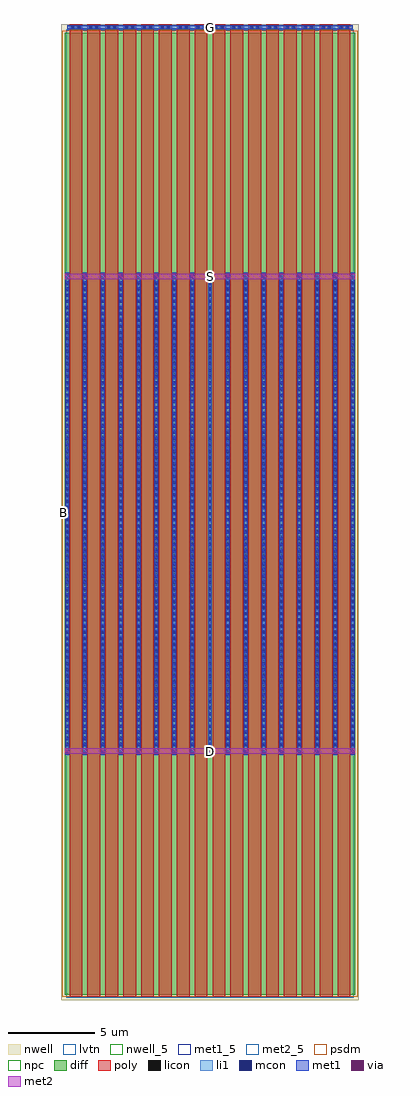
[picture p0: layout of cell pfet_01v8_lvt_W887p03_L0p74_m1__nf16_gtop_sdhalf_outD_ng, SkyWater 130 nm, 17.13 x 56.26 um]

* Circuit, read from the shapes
.subckt pfet_01v8_lvt_W887p03_L0p74_m1__nf16_gtop_sdhalf_outD_ng B D G S
XM1 S G D B sky130_fd_pr__pfet_01v8_lvt w=55.44 l=0.74 m=16
.ends

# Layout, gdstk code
import gdstk
lib = gdstk.Library(unit=1e-6, precision=1e-09)
def R(c, l, rs):  # rectangles x0, y0, x1, y1
    for r in rs: c.add(gdstk.rectangle(r[:2], r[2:], *l))
def A(c, l, x, y, w, h, nx, ny, dx, dy):  # array of equal rectangles
    R(c, l, [(x+i*dx, y+j*dy, x+i*dx+w, y+j*dy+h) for i in range(nx) for j in range(ny)])
nwell_5 = (64, 5)
nwell = (64, 20)
diff = (65, 20)
poly = (66, 20)
licon = (66, 44)
li1 = (67, 20)
mcon = (67, 44)
met1_5 = (68, 5)
met1 = (68, 20)
via = (68, 44)
met2_5 = (69, 5)
met2 = (69, 20)
psdm = (94, 20)
npc = (95, 20)
lvtn = (125, 44)

sky130_fd_pr__pfet_01v8_ = lib.new_cell('sky130_fd_pr__pfet_01v8_lvt_4ESS6B')
R(sky130_fd_pr__pfet_01v8_, nwell, [(-8.565,-28.21,8.565,28.04)])
R(sky130_fd_pr__pfet_01v8_, diff, [(-8.385,-27.9,8.385,27.54)])
A(sky130_fd_pr__pfet_01v8_, poly, -8.095, -28.03, 0.74, 56.055, 16, 1, 1.03, 0)
A(sky130_fd_pr__pfet_01v8_, licon, -8.325, -13.865, 0.17, 0.17, 17, 81, 1.03, 0.34)
R(sky130_fd_pr__pfet_01v8_, licon, [(-7.98,27.775,-7.81,27.945), (-7.64,27.775,-7.47,27.945), (-6.95,27.775,-6.78,27.945), (-6.61,27.775,-6.44,27.945), (-5.92,27.775,-5.75,27.945), (-5.58,27.775,-5.41,27.945), (-4.89,27.775,-4.72,27.945), (-4.55,27.775,-4.38,27.945), (-3.86,27.775,-3.69,27.945), (-3.52,27.775,-3.35,27.945), (-2.83,27.775,-2.66,27.945), (-2.49,27.775,-2.32,27.945), (-1.8,27.775,-1.63,27.945), (-1.46,27.775,-1.29,27.945), (-0.77,27.775,-0.6,27.945), (-0.43,27.775,-0.26,27.945), (0.26,27.775,0.43,27.945), (0.6,27.775,0.77,27.945), (1.29,27.775,1.46,27.945), (1.63,27.775,1.8,27.945), (2.32,27.775,2.49,27.945), (2.66,27.775,2.83,27.945), (3.35,27.775,3.52,27.945), (3.69,27.775,3.86,27.945), (4.38,27.775,4.55,27.945), (4.72,27.775,4.89,27.945), (5.41,27.775,5.58,27.945), (5.75,27.775,5.92,27.945), (6.44,27.775,6.61,27.945), (6.78,27.775,6.95,27.945), (7.47,27.775,7.64,27.945), (7.81,27.775,7.98,27.945)])
A(sky130_fd_pr__pfet_01v8_, li1, -8.325, -14.09, 0.17, 27.82, 17, 1, 1.03, 0)
R(sky130_fd_pr__pfet_01v8_, li1, [(-8.24,27.775,8.24,27.945)])
A(sky130_fd_pr__pfet_01v8_, mcon, -8.325, -13.945, 0.17, 0.17, 17, 77, 1.03, 0.36)
R(sky130_fd_pr__pfet_01v8_, mcon, [(-7.99,27.775,-7.82,27.945), (-7.63,27.775,-7.46,27.945), (-6.96,27.775,-6.79,27.945), (-6.6,27.775,-6.43,27.945), (-5.93,27.775,-5.76,27.945), (-5.57,27.775,-5.4,27.945), (-4.9,27.775,-4.73,27.945), (-4.54,27.775,-4.37,27.945), (-3.87,27.775,-3.7,27.945), (-3.51,27.775,-3.34,27.945), (-2.84,27.775,-2.67,27.945), (-2.48,27.775,-2.31,27.945), (-1.81,27.775,-1.64,27.945), (-1.45,27.775,-1.28,27.945), (-0.78,27.775,-0.61,27.945), (-0.42,27.775,-0.25,27.945), (0.25,27.775,0.42,27.945), (0.61,27.775,0.78,27.945), (1.28,27.775,1.45,27.945), (1.64,27.775,1.81,27.945), (2.31,27.775,2.48,27.945), (2.67,27.775,2.84,27.945), (3.34,27.775,3.51,27.945), (3.7,27.775,3.87,27.945), (4.37,27.775,4.54,27.945), (4.73,27.775,4.9,27.945), (5.4,27.775,5.57,27.945), (5.76,27.775,5.93,27.945), (6.43,27.775,6.6,27.945), (6.79,27.775,6.96,27.945), (7.46,27.775,7.63,27.945), (7.82,27.775,7.99,27.945)])
A(sky130_fd_pr__pfet_01v8_, met1, -8.355, -14.07, 0.23, 27.78, 17, 1, 1.03, 0)
A(sky130_fd_pr__pfet_01v8_, met1, -8.075, 27.745, 0.7, 0.03, 16, 2, 1.03, 0.2)
R(sky130_fd_pr__pfet_01v8_, met1, [(-8.24,27.775,8.24,27.945)])
R(sky130_fd_pr__pfet_01v8_, psdm, [(-8.51,-28.025,8.51,27.665)])
A(sky130_fd_pr__pfet_01v8_, npc, -8.08, 27.675, 0.71, 0.37, 16, 1, 1.03, 0)
R(sky130_fd_pr__pfet_01v8_, lvtn, [(-8.275,-28.08,8.275,27.72)])
sky130_fd_pr__pfet_01v8_.add(gdstk.Label('D0', (-8.24,-0.18), layer=67, texttype=5))
sky130_fd_pr__pfet_01v8_.add(gdstk.Label('G', (7.725,27.86), layer=67, texttype=5))
sky130_fd_pr__pfet_01v8_.add(gdstk.Label('G', (6.695,27.86), layer=67, texttype=5))
sky130_fd_pr__pfet_01v8_.add(gdstk.Label('G', (5.665,27.86), layer=67, texttype=5))
sky130_fd_pr__pfet_01v8_.add(gdstk.Label('G', (4.635,27.86), layer=67, texttype=5))
sky130_fd_pr__pfet_01v8_.add(gdstk.Label('G', (3.605,27.86), layer=67, texttype=5))
sky130_fd_pr__pfet_01v8_.add(gdstk.Label('G', (2.575,27.86), layer=67, texttype=5))
sky130_fd_pr__pfet_01v8_.add(gdstk.Label('G', (1.545,27.86), layer=67, texttype=5))
sky130_fd_pr__pfet_01v8_.add(gdstk.Label('G', (0.515,27.86), layer=67, texttype=5))
sky130_fd_pr__pfet_01v8_.add(gdstk.Label('G', (-0.515,27.86), layer=67, texttype=5))
sky130_fd_pr__pfet_01v8_.add(gdstk.Label('G', (-1.545,27.86), layer=67, texttype=5))
sky130_fd_pr__pfet_01v8_.add(gdstk.Label('G', (-2.575,27.86), layer=67, texttype=5))
sky130_fd_pr__pfet_01v8_.add(gdstk.Label('G', (-3.605,27.86), layer=67, texttype=5))
sky130_fd_pr__pfet_01v8_.add(gdstk.Label('G', (-4.635,27.86), layer=67, texttype=5))
sky130_fd_pr__pfet_01v8_.add(gdstk.Label('G', (-5.665,27.86), layer=67, texttype=5))
sky130_fd_pr__pfet_01v8_.add(gdstk.Label('G', (-6.695,27.86), layer=67, texttype=5))
sky130_fd_pr__pfet_01v8_.add(gdstk.Label('G', (-7.725,27.86), layer=67, texttype=5))
sky130_fd_pr__pfet_01v8_.add(gdstk.Label('S1', (-7.21,-0.18), layer=67, texttype=5))
sky130_fd_pr__pfet_01v8_.add(gdstk.Label('D2', (-6.18,-0.18), layer=67, texttype=5))
sky130_fd_pr__pfet_01v8_.add(gdstk.Label('S3', (-5.15,-0.18), layer=67, texttype=5))
sky130_fd_pr__pfet_01v8_.add(gdstk.Label('D4', (-4.12,-0.18), layer=67, texttype=5))
sky130_fd_pr__pfet_01v8_.add(gdstk.Label('S5', (-3.09,-0.18), layer=67, texttype=5))
sky130_fd_pr__pfet_01v8_.add(gdstk.Label('D6', (-2.06,-0.18), layer=67, texttype=5))
sky130_fd_pr__pfet_01v8_.add(gdstk.Label('S7', (-1.03,-0.18), layer=67, texttype=5))
sky130_fd_pr__pfet_01v8_.add(gdstk.Label('D8', (0,-0.18), layer=67, texttype=5))
sky130_fd_pr__pfet_01v8_.add(gdstk.Label('S9', (1.03,-0.18), layer=67, texttype=5))
sky130_fd_pr__pfet_01v8_.add(gdstk.Label('D10', (2.06,-0.18), layer=67, texttype=5))
sky130_fd_pr__pfet_01v8_.add(gdstk.Label('S11', (3.09,-0.18), layer=67, texttype=5))
sky130_fd_pr__pfet_01v8_.add(gdstk.Label('D12', (4.12,-0.18), layer=67, texttype=5))
sky130_fd_pr__pfet_01v8_.add(gdstk.Label('S13', (5.15,-0.18), layer=67, texttype=5))
sky130_fd_pr__pfet_01v8_.add(gdstk.Label('D14', (6.18,-0.18), layer=67, texttype=5))
sky130_fd_pr__pfet_01v8_.add(gdstk.Label('S15', (7.21,-0.18), layer=67, texttype=5))

pfet_01v8_lvt_w887p03_l0 = lib.new_cell('pfet_01v8_lvt_W887p03_L0p74_m1__nf16_gtop_sdhalf_outD_ng')
R(pfet_01v8_lvt_w887p03_l0, nwell_5, [(0.05,28.075,0.15,28.175)])
R(pfet_01v8_lvt_w887p03_l0, nwell, [(0.05,28.075,0.15,28.175)])
R(pfet_01v8_lvt_w887p03_l0, met1_5, [(0.325,55.955,16.805,56.185)])
A(pfet_01v8_lvt_w887p03_l0, met1, 0.195, 14.19, 0.26, 0.32, 9, 1, 2.06, 0)
A(pfet_01v8_lvt_w887p03_l0, met1, 1.225, 41.55, 0.26, 0.32, 8, 1, 2.06, 0)
R(pfet_01v8_lvt_w887p03_l0, met1, [(0.325,55.955,16.805,56.185)])
A(pfet_01v8_lvt_w887p03_l0, via, 0.25, 14.275, 0.15, 0.15, 9, 1, 2.06, 0)
A(pfet_01v8_lvt_w887p03_l0, via, 1.28, 41.635, 0.15, 0.15, 8, 1, 2.06, 0)
R(pfet_01v8_lvt_w887p03_l0, met2_5, [(0.19,14.19,16.94,14.51), (0.19,41.55,16.94,41.87)])
R(pfet_01v8_lvt_w887p03_l0, met2, [(0.19,14.19,16.94,14.51), (0.19,41.55,16.94,41.87)])
pfet_01v8_lvt_w887p03_l0.add(gdstk.Reference(sky130_fd_pr__pfet_01v8_, (8.565,28.21)))
pfet_01v8_lvt_w887p03_l0.add(gdstk.Label('S', (8.565,41.71), layer=69, texttype=5))
pfet_01v8_lvt_w887p03_l0.add(gdstk.Label('D', (8.565,14.35), layer=69, texttype=5))
pfet_01v8_lvt_w887p03_l0.add(gdstk.Label('G', (8.565,56.07), layer=68, texttype=5))
pfet_01v8_lvt_w887p03_l0.add(gdstk.Label('B', (0.1,28.125), layer=64, texttype=5))

lib.write_gds('pfet_01v8_lvt_W887p03_L0p74_m1__nf16_gtop_sdhalf_outD_ng.gds')
